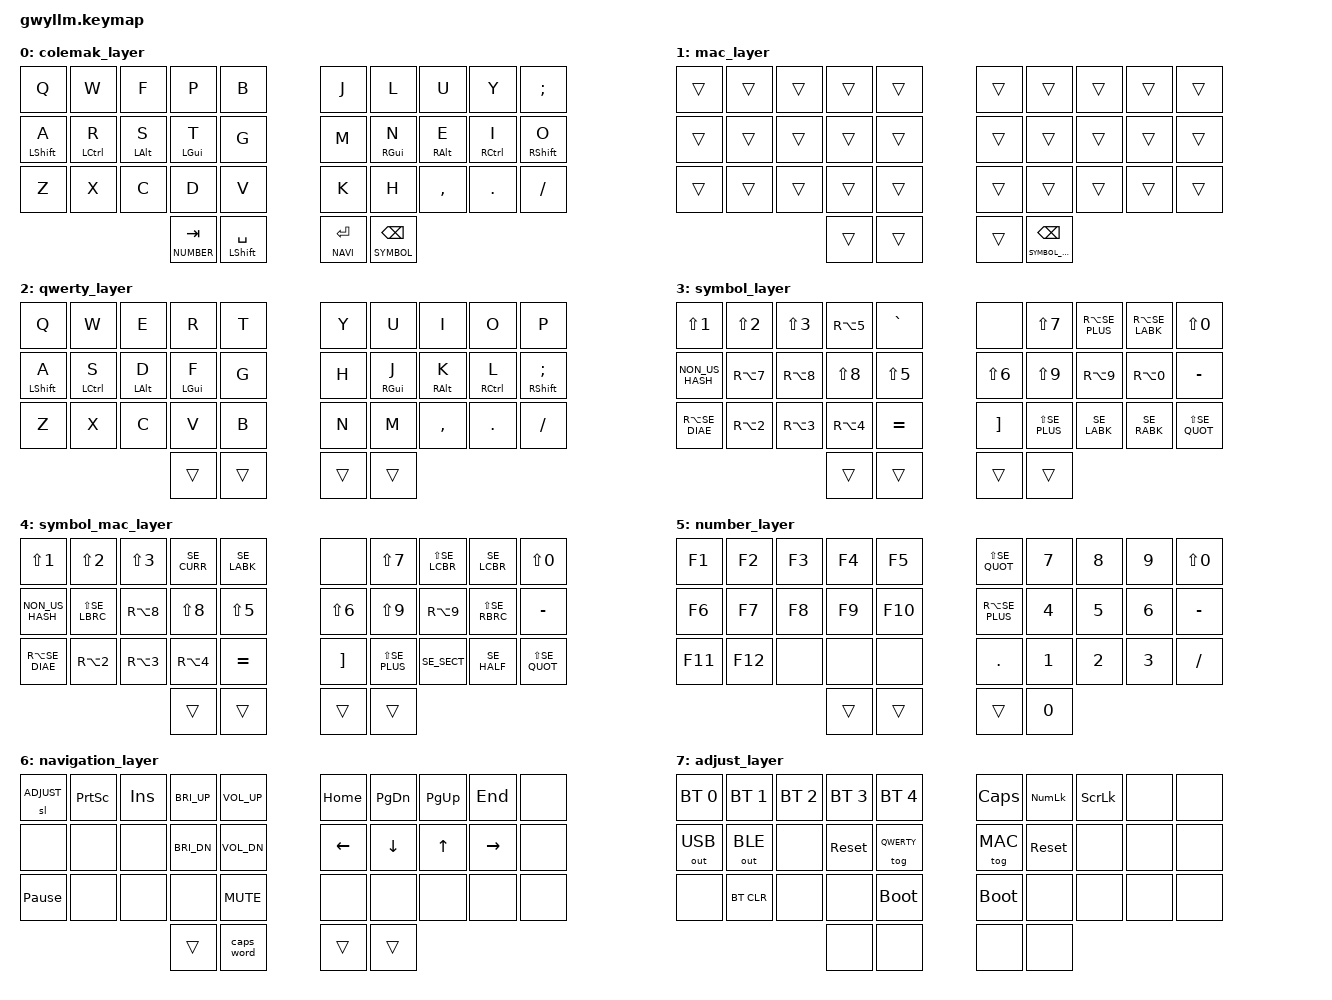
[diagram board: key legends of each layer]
#include <behaviors.dtsi>
#include <dt-bindings/zmk/keys.h>
#include <dt-bindings/zmk/bt.h>
#include <dt-bindings/zmk/outputs.h>

// Layers
#define COLEMAK    0
#define MAC        1
#define QWERTY     2
#define SYMBOL     3
#define SYMBOL_MAC 4
#define NUMBER     5
#define NAVI       6
#define ADJUST     7

// Swedish keycodes
#define SE_SECT GRAVE       // §
#define SE_PLUS MINUS       // +
#define SE_ACUT EQUAL       // ´ (dead)
#define SE_ARNG LBKT        // Å
#define SE_DIAE RBKT        // ¨ (dead)
#define SE_ODIA SEMI        // Ö
#define SE_ADIA SQT         // Ä
#define SE_QUOT NON_US_HASH // '
#define SE_LABK NON_US_BSLH // <
#define SE_MINS FSLH        // -
#define SE_HALF LS(SE_SECT) // ½
#define SE_EXLM LS(N1)      // !
#define SE_DQUO LS(N2)      // "
#define SE_HASH LS(N3)      // #
#define SE_CURR LS(N4)      // ¤
#define SE_PERC LS(N5)      // %
#define SE_AMPR LS(N6)      // &
#define SE_SLSH LS(N7)      // /
#define SE_LPRN LS(N8)      // (
#define SE_RPRN LS(N9)      // )
#define SE_EQL  LS(N0)      // =
#define SE_QUES LS(SE_PLUS) // ?
#define SE_GRV  LS(SE_ACUT) // ` (dead)
#define SE_CIRC LS(SE_DIAE) // ^ (dead)
#define SE_ASTR LS(SE_QUOT) // *
#define SE_RABK LS(SE_LABK) // >
#define SE_SCLN LS(SE_COMM) // ;
#define SE_COLN LS(SE_DOT)  // :
#define SE_UNDS LS(SE_MINS) // _
#define SE_AT   RA(N2)      // @
#define SE_PND  RA(N3)      // £
#define SE_DLR  RA(N4)      // $
#define SE_EURO RA(N5)      // €
#define SE_LCBR RA(N7)      // {
#define SE_LBRC RA(N8)      // [
#define SE_RBRC RA(N9)      // ]
#define SE_RCBR RA(N0)      // }
#define SE_BSLS RA(SE_PLUS) // (backslash)
#define SE_TILD RA(SE_DIAE) // ~ (dead)
#define SE_PIPE RA(SE_LABK) // |
#define SE_MICR RA(SE_M)    // µ
#define SE_LESS SE_LABK     // <
#define SE_GRTR SE_RABK     // >

// Swedish macOS specific keycodes 
#define SE_ACUT_MAC SE_ACUT
#define SE_QUOT_MAC SE_LABK
#define SE_BSLS_MAC LS(SE_LCBR)
#define SE_EURO_MAC  SE_CURR
#define SE_GRV_MAC  SE_BSLS
#define SE_GRTR_MAC SE_HALF
#define SE_LCBR_MAC LS(SE_LBRC)
#define SE_LESS_MAC SE_SECT
#define SE_PIPE_MAC SE_LCBR
#define SE_RCBR_MAC LS(SE_RBRC)
#define SE_SECT_MAC SE_LABK

// Left/Right keys
#define KEYS_L 0 1 2 3 4 10 11 12 13 14 20 21 22 23 24
#define KEYS_R 5 6 7 8 9 15 16 17 18 19 25 26 27 28 29
#define THUMBS 30 31 32 33

#define COMBO(NAME, BINDINGS, KEYPOS) \
  combo_##NAME { \
    timeout-ms = <25>; \
    bindings = <BINDINGS>; \
    key-positions = <KEYPOS>; \
    layers = <0 1>; \
  };

&sl {
    release-after-ms = <3000>;
};

&lt {
    tapping-term-ms = <200>;
    quick-tap-ms = <200>;
    flavor = "balanced";
};

&mt {
    tapping-term-ms = <200>;
    quick-tap-ms = <200>;
    flavor = "balanced";
};

&kscan0 {
    debounce-press-ms = <30>;
    debounce-release-ms = <30>;
};

&caps_word {
/* Fix for dash, underscore and backspace on swedish layout */
  continue-list = <SLASH BACKSPACE QUESTION LSHIFT>;
};

/ {
    behaviors {
        hml: homerow_mods_left {
            compatible = "zmk,behavior-hold-tap";
            label = "HOMEROW_MODS_LEFT";
            #binding-cells = <2>;
            tapping-term-ms = <280>;
            quick-tap-ms = <175>;
            require-prior-idle-ms = <150>;
            global-quick-tap;
            flavor = "balanced";
            bindings = <&kp>, <&kp>;
            hold-trigger-key-positions = <KEYS_R THUMBS>;
            hold-trigger-on-release;
        };
        hmr: homerow_mods_right {
            compatible = "zmk,behavior-hold-tap";
            label = "HOMEROW_MODS_RIGHT";
            #binding-cells = <2>;
            tapping-term-ms = <280>;
            quick-tap-ms = <175>;
            require-prior-idle-ms = <150>;
            global-quick-tap;
            flavor = "balanced";
            bindings = <&kp>, <&kp>;
            hold-trigger-key-positions = <KEYS_L THUMBS>;
            hold-trigger-on-release;
        };
    };
    combos {
        compatible = "zmk,combos";
        COMBO(aa, &kp SE_ARNG, 7 8)
        COMBO(aa2, &kp SE_ARNG, 7 17)
        COMBO(ae, &kp SE_ADIA, 17 18)
        COMBO(ae2, &kp SE_ADIA, 8 18)
        COMBO(esc, &kp ESC, 1 2)
        COMBO(esc2, &kp ESC, 2 12)
        COMBO(del, &kp DEL, 27 28)
        COMBO(del2, &kp DEL, 32 33)
     };
    keymap {
        compatible = "zmk,keymap";

/* Colemak DHm
         ┌─────┬─────┬─────┬─────┬─────┐                   ┌─────┬─────┬─────┬─────┬─────┐
         |  q  |  w  |  f  |  p  |  b  |                   |  j  |  l  |  u  |  y  |  ö  |
         ├─────┼─────┼─────┼─────┼─────┤                   ├─────┼─────┼─────┼─────┼─────┤
         |sft-a|ctl-r|alt-s|gui-t|  g  |                   |  m  |gui-n|alt-e|ctl-i|sft-o|
         ├─────┼─────┼─────┼─────┼─────┤                   ├─────┼─────┼─────┼─────┼─────┤
         |  z  |  x  |  c  |  d  |  v  |                   |  k  |  h  |  ,  |  .  |  -  |
         └─────┴─────┴─────┴─────┴─────┘                   └─────┴─────┴─────┴─────┴─────┘
                           ┌─────┬─────┐                   ┌─────┬─────┐
                           |nu-tb|sh-sp|                   |na-en|sy-bs|
                           └─────┴─────┘                   └─────┴─────┘
*/
        colemak_layer {
            bindings = <
    &kp Q     	 &kp W       &kp F      &kp P      &kp B                     &kp J     &kp L      &kp U      &kp Y       &kp SEMI
    &hml LSHFT A  &hml LCTRL R &hml LALT S &hml LGUI T &kp G                     &kp M     &hmr RGUI N &hmr RALT E &hmr RCTRL I &hmr RSHFT O
    &kp Z        &kp X       &kp C      &kp D      &kp V                     &kp K     &kp H      &kp COMMA  &kp DOT     &kp FSLH
                          &lt NUMBER TAB  &mt LSHFT SPACE                   &lt NAVI RET   &lt SYMBOL BSPC
            >;
        };


/* MAC
         ┌─────┬─────┬─────┬─────┬─────┐                   ┌─────┬─────┬─────┬─────┬─────┐
         |     |     |     |     |     |                   |     |     |     |     |     |
         ├─────┼─────┼─────┼─────┼─────┤                   ├─────┼─────┼─────┼─────┼─────┤
         |     |     |     |     |     |                   |     |     |     |     |     |
         ├─────┼─────┼─────┼─────┼─────┤                   ├─────┼─────┼─────┼─────┼─────┤
         |     |     |     |     |     |                   |     |     |     |     |     |
         └─────┴─────┴─────┴─────┴─────┘                   └─────┴─────┴─────┴─────┴─────┘
                           ┌─────┬─────┐                   ┌─────┬────────┐
                           |     |     |                   |     |sy_mc_bs|
                           └─────┴─────┘                   └─────┴────────┘
*/
        mac_layer {
            bindings = <
    &trans      &trans      &trans      &trans      &trans                      &trans      &trans     &trans     &trans     &trans 
    &trans      &trans      &trans      &trans      &trans                      &trans      &trans     &trans     &trans     &trans 
    &trans      &trans      &trans      &trans      &trans                      &trans      &trans     &trans     &trans     &trans 
                                        &trans      &trans                      &trans     &lt SYMBOL_MAC BSPC
            >;
        };

/* QWERTY
         ┌─────┬─────┬─────┬─────┬─────┐                   ┌─────┬─────┬─────┬─────┬─────┐
         |  q  |  w  |  e  |  r  |  t  |                   |  y  |  u  |  i  |  o  |  p  |
         ├─────┼─────┼─────┼─────┼─────┤                   ├─────┼─────┼─────┼─────┼─────┤
         |sft-a|ctl-s|alt-d|gui-f|  g  |                   |  h  |gui-j|alt-k|ctl-l|sft-ö|
         ├─────┼─────┼─────┼─────┼─────┤                   ├─────┼─────┼─────┼─────┼─────┤
         |  z  |  x  |  c  |  v  |  b  |                   |  n  |  m  |  ,  |  .  |  -  |
         └─────┴─────┴─────┴─────┴─────┘                   └─────┴─────┴─────┴─────┴─────┘
                           ┌─────┬─────┐                   ┌─────┬─────┐
                           |     |     |                   |     |     |
                           └─────┴─────┘                   └─────┴─────┘
*/
        qwerty_layer {
            bindings = <
    &kp Q     	 &kp W       &kp E      &kp R      &kp T                     &kp Y     &kp U      &kp I      &kp O       &kp P
    &hml LSHFT A  &hml LCTRL S &hml LALT D &hml LGUI F &kp G                     &kp H     &hmr RGUI J &hmr RALT K &hmr RCTRL L &hmr RSHFT SEMI
    &kp Z        &kp X       &kp C      &kp V      &kp B                     &kp N     &kp M      &kp COMMA  &kp DOT     &kp FSLH
             	                        &trans     &trans    	             &trans     &trans
            >;
        };

/* Symbols
         ┌─────┬─────┬─────┬─────┬─────┐                   ┌─────┬─────┬─────┬─────┬─────┐
         |  !  |  "  |  #  |  €  |  §  |                   |     |  /  |  \  |  |  |  =  |
         ├─────┼─────┼─────┼─────┼─────┤                   ├─────┼─────┼─────┼─────┼─────┤
         |  '  |  {  |  [  |  (  |  %  |                   |  &  |  )  |  ]  |  }  |  +  |
         ├─────┼─────┼─────┼─────┼─────┤                   ├─────┼─────┼─────┼─────┼─────┤
         |  ~  |  @  |  £  |  $  |  ´  |                   |  ¨  |  ?  |  <  |  >  |  *  |
         └─────┴─────┴─────┴─────┴─────┘                   └─────┴─────┴─────┴─────┴─────┘
                           ┌─────┬─────┐                   ┌─────┬─────┐
                           |     |     |                   |     |     |
                           └─────┴─────┘                   └─────┴─────┘
*/
        symbol_layer {
            bindings = <
    &kp SE_EXLM  &kp SE_DQUO  &kp SE_HASH  &kp SE_EURO  &kp SE_SECT                  &none        &kp SE_SLSH  &kp SE_BSLS  &kp SE_PIPE  &kp SE_EQL
    &kp SE_QUOT  &kp SE_LCBR  &kp SE_LBRC  &kp SE_LPRN  &kp SE_PERC                  &kp SE_AMPR  &kp SE_RPRN  &kp SE_RBRC  &kp SE_RCBR  &kp SE_PLUS
    &kp SE_TILD  &kp SE_AT    &kp SE_PND   &kp SE_DLR   &kp SE_ACUT                  &kp SE_DIAE  &kp SE_QUES  &kp SE_LESS  &kp SE_GRTR  &kp SE_ASTR
             	                                  &trans     &trans    	             &trans     &trans
            >;
        };

/* Symbols for Mac
         ┌─────┬─────┬─────┬─────┬─────┐                   ┌─────┬─────┬─────┬─────┬─────┐
         |  !  |  "  |  #  |  €  |  §  |                   |     |  /  |  \  |  |  |  =  |
         ├─────┼─────┼─────┼─────┼─────┤                   ├─────┼─────┼─────┼─────┼─────┤
         |  '  |  {  |  [  |  (  |  %  |                   |  &  |  )  |  ]  |  }  |  +  |
         ├─────┼─────┼─────┼─────┼─────┤                   ├─────┼─────┼─────┼─────┼─────┤
         |  ~  |  @  |  £  |  $  |  ´  |                   |  ¨  |  ?  |  <  |  >  |  *  |
         └─────┴─────┴─────┴─────┴─────┘                   └─────┴─────┴─────┴─────┴─────┘
                           ┌─────┬─────┐                   ┌─────┬─────┐
                           |     |     |                   |     |     |
                           └─────┴─────┘                   └─────┴─────┘
*/
        symbol_mac_layer {
            bindings = <
    &kp SE_EXLM  &kp SE_DQUO      &kp SE_HASH  &kp SE_EURO_MAC  &kp SE_SECT_MAC              &none        &kp SE_SLSH  &kp SE_BSLS_MAC  &kp SE_PIPE_MAC  &kp SE_EQL
    &kp SE_QUOT  &kp SE_LCBR_MAC  &kp SE_LBRC  &kp SE_LPRN      &kp SE_PERC                  &kp SE_AMPR  &kp SE_RPRN  &kp SE_RBRC      &kp SE_RCBR_MAC  &kp SE_PLUS
    &kp SE_TILD  &kp SE_AT        &kp SE_PND   &kp SE_DLR       &kp SE_ACUT                  &kp SE_DIAE  &kp SE_QUES  &kp SE_LESS_MAC  &kp SE_GRTR_MAC  &kp SE_ASTR
             	                                         &trans     &trans    	             &trans     &trans
            >;
        };

/* Numbers
         ┌─────┬─────┬─────┬─────┬─────┐                   ┌─────┬─────┬─────┬─────┬─────┐
         | F1  | F2  | F3  | F4  | F5  |                   |  *  |  7  |  8  |  9  |  =  |
         ├─────┼─────┼─────┼─────┼─────┤                   ├─────┼─────┼─────┼─────┼─────┤
         | F6  | F7  | F8  | F9  | F10 |                   |  /  |  4  |  5  |  6  |  +  |
         ├─────┼─────┼─────┼─────┼─────┤                   ├─────┼─────┼─────┼─────┼─────┤
         | F11 | F12 |     |     |     |                   |  .  |  1  |  2  |  3  |  -  |
         └─────┴─────┴─────┴─────┴─────┘                   └─────┴─────┴─────┴─────┴─────┘
                           ┌─────┬─────┐                   ┌─────┬─────┐
                           |     |     |                   |     |  0  |
                           └─────┴─────┘                   └─────┴─────┘
*/
        number_layer {
            bindings = <
    &kp F1  &kp F2    &kp F3  &kp F4  &kp F5                          &kp SE_ASTR  &kp N7  &kp N8  &kp N9  &kp SE_EQL
    &kp F6  &kp F7    &kp F8  &kp F9  &kp F10                         &kp SE_BSLS  &kp N4  &kp N5  &kp N6  &kp SE_PLUS
    &kp F11  &kp F12  &none   &none   &none                           &kp DOT      &kp N1  &kp N2  &kp N3  &kp SE_MINS
                           &trans     &trans                          &trans     &kp N0
            >;
	};

/* Navigation
         ┌─────┬─────┬─────┬─────┬─────┐                   ┌─────┬─────┬─────┬─────┬─────┐
         | ADJ |PrScn| Ins |BriUp|VolUp|                   |Home |PgDn |PgUp | End |But3 |
         ├─────┼─────┼─────┼─────┼─────┤                   ├─────┼─────┼─────┼─────┼─────┤
         |     |     |     |BriDo|VolDo|                   |Left |Down | Up  |Right|But2 |
         ├─────┼─────┼─────┼─────┼─────┤                   ├─────┼─────┼─────┼─────┼─────┤
         |Pause|     |     |     |Mute |                   |MousL|MousD|MousU|MousR|But1 |
         └─────┴─────┴─────┴─────┴─────┘                   └─────┴─────┴─────┴─────┴─────┘
                           ┌─────┬─────┐                   ┌─────┬─────┐
                           |     |CapWd|                   |     |     |
                           └─────┴─────┘                   └─────┴─────┘
*/
        navigation_layer {
            bindings = <
    &sl ADJUST       &kp PSCRN   &kp INS &kp C_BRI_UP  &kp C_VOL_UP		&kp HOME  &kp PG_DN  &kp PG_UP  &kp END    &none
    &none            &none       &none   &kp C_BRI_DN  &kp C_VOL_DN     &kp LEFT  &kp DOWN   &kp UP     &kp RIGHT  &none
    &kp PAUSE_BREAK  &none       &none     &none         &kp K_MUTE     &none     &none      &none      &none      &none
                                              &trans     &caps_word     &trans     &trans
            >;
        };

/* Adjust
         ┌─────┬─────┬─────┬─────┬─────┐                   ┌─────┬─────┬─────┬─────┬─────┐
         | BT0 | BT1 | BT2 | BT3 | BT4 |                   |CapLk|NumLk|ScrLk|     |     |
         ├─────┼─────┼─────┼─────┼─────┤                   ├─────┼─────┼─────┼─────┼─────┤
         | USB | BLE |     |Reset|Qw/Co|                   |Wi/Mc|Reset|     |     |     |
         ├─────┼─────┼─────┼─────┼─────┤                   ├─────┼─────┼─────┼─────┼─────┤
         |     |BTClr|     |     |Bootl|                   |Bootl|     |     |     |     |
         └─────┴─────┴─────┴─────┴─────┘                   └─────┴─────┴─────┴─────┴─────┘
                           ┌─────┬─────┐                   ┌─────┬─────┐
                           |     |     |                   |     |     |
                           └─────┴─────┘                   └─────┴─────┘
*/
        adjust_layer {
            bindings = <
    &bt BT_SEL 0 &bt BT_SEL 1 &bt BT_SEL 2 &bt BT_SEL 3 &bt BT_SEL 4                   &kp CAPS    &kp KP_NUM &kp SLCK &none     &none
    &out OUT_USB &out OUT_BLE &none        &sys_reset   &tog QWERTY                    &tog MAC    &sys_reset &none    &none     &none
    &none        &bt BT_CLR   &none        &none        &bootloader                    &bootloader &none      &none    &none     &none
                                           &none        &none                          &none       &none
            >;
        };

/* Layer  illustration template
         ┌─────┬─────┬─────┬─────┬─────┐                   ┌─────┬─────┬─────┬─────┬─────┐
         |     |     |     |     |     |                   |     |     |     |     |     |
         ├─────┼─────┼─────┼─────┼─────┤                   ├─────┼─────┼─────┼─────┼─────┤
         |     |     |     |     |     |                   |     |     |     |     |     |
         ├─────┼─────┼─────┼─────┼─────┤                   ├─────┼─────┼─────┼─────┼─────┤
         |     |     |     |     |     |                   |     |     |     |     |     |
         └─────┴─────┴─────┴─────┴─────┘                   └─────┴─────┴─────┴─────┴─────┘
                           ┌─────┬─────┐                   ┌─────┬─────┐
                           |     |     |                   |     |     |
                           └─────┴─────┘                   └─────┴─────┘
*/
/*
        template_layer {
            bindings = <
    &none      &none      &none      &none      &none                      &none      &none     &none     &none     &none 
    &none      &none      &none      &none      &none                      &none      &none     &none     &none     &none 
    &none      &none      &none      &none      &none                      &none      &none     &none     &none     &none 
                                     &trans     &trans                    &trans     &trans
            >;
        };

*/

    };
};
